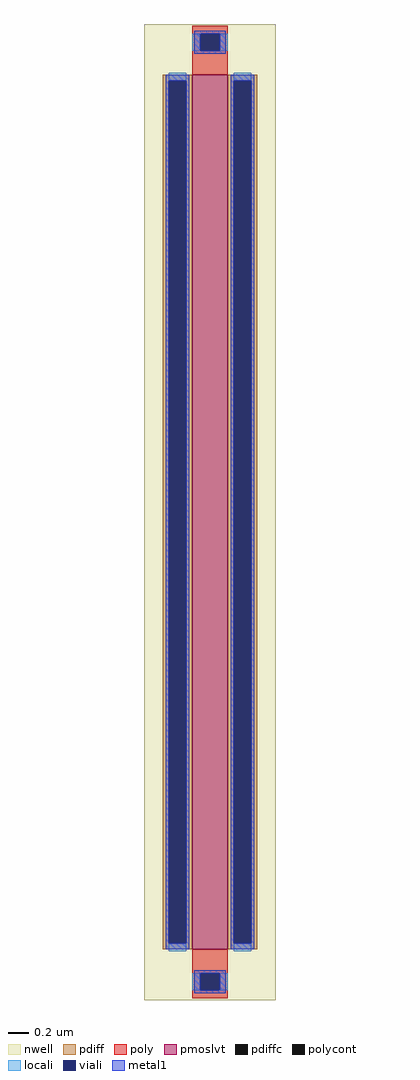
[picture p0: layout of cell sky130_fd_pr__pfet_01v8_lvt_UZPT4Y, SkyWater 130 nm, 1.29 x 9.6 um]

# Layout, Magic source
magic
tech sky130A
magscale 1 2
<< nwell >>
rect -129 -960 129 960
<< pmoslvt >>
rect -35 -860 35 860
<< pdiff >>
rect -93 848 -35 860
rect -93 -848 -81 848
rect -47 -848 -35 848
rect -93 -860 -35 -848
rect 35 848 93 860
rect 35 -848 47 848
rect 81 -848 93 848
rect 35 -860 93 -848
<< pdiffc >>
rect -81 -848 -47 848
rect 47 -848 81 848
<< poly >>
rect -35 941 35 957
rect -35 907 -19 941
rect 19 907 35 941
rect -35 860 35 907
rect -35 -907 35 -860
rect -35 -941 -19 -907
rect 19 -941 35 -907
rect -35 -957 35 -941
<< polycont >>
rect -19 907 19 941
rect -19 -941 19 -907
<< locali >>
rect -35 907 -19 941
rect 19 907 35 941
rect -81 848 -47 864
rect -81 -864 -47 -848
rect 47 848 81 864
rect 47 -864 81 -848
rect -35 -941 -19 -907
rect 19 -941 35 -907
<< viali >>
rect -19 907 19 941
rect -81 -848 -47 848
rect 47 -848 81 848
rect -19 -941 19 -907
<< metal1 >>
rect -31 941 31 947
rect -31 907 -19 941
rect 19 907 31 941
rect -31 901 31 907
rect -87 848 -41 860
rect -87 -848 -81 848
rect -47 -848 -41 848
rect -87 -860 -41 -848
rect 41 848 87 860
rect 41 -848 47 848
rect 81 -848 87 848
rect 41 -860 87 -848
rect -31 -907 31 -901
rect -31 -941 -19 -907
rect 19 -941 31 -907
rect -31 -947 31 -941
<< properties >>
string gencell sky130_fd_pr__pfet_01v8_lvt
string library sky130
string parameters w 8.6 l 0.35 m 1 nf 1 diffcov 100 polycov 100 guard 0 glc 0 grc 0 gtc 0 gbc 0 tbcov 100 rlcov 100 topc 1 botc 1 poverlap 1 doverlap 1 lmin 0.35 wmin 0.42 compatible {sky130_fd_pr__pfet_01v8  sky130_fd_pr__pfet_01v8_lvt sky130_fd_pr__pfet_01v8_hvt  sky130_fd_pr__pfet_g5v0d10v5} full_metal 0 viasrc 100 viadrn 100 viagate 100 viagb 0 viagr 0 viagl 0 viagt 0
<< end >>
